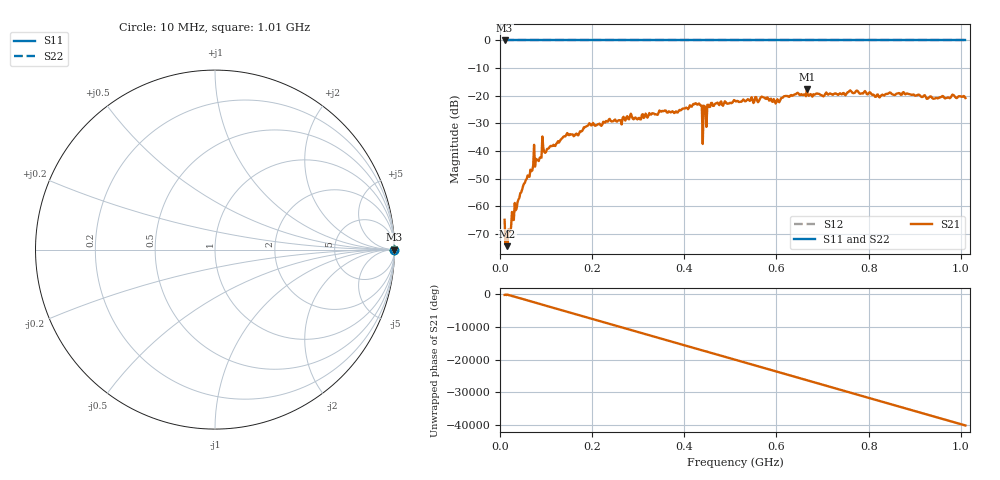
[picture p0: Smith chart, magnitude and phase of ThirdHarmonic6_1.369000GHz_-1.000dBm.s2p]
! 8/16/2025 3:30:12 PM
! C:\ANRITSUVNA\TEMP\TEMP.S2P
! CHANNEL.1
! TR.MEASUREMENT
! RAW.DATA
! RF.CORRECTION.OFF
! AVERAGING.OFF
! IF.BANDWIDTH: 5KHZ
! SWEEPTYPE:  FREQ.SWEEP(Linear)
! Reference Plane Port Info
! PORT:  PORT1  PORT2
! DISTANCE:  0  m  0  m
! TIME:  0  s  0  s
! PHASE.OFFSET:  0  deg.  0  deg.
! LOSS:  0  dB  0  dB
! REF.LOSS:  0  dB  0  dB
! REF.FREQ:  0  Hz  0  Hz
! Power Info
! POWER:  -20  dBm  -20  dBm
! EFF.POWER:  -20  dBm  -20  dBm
! SOURCE.ATTEN:  0  dB  0  dB
! TEST.ATTEN:  0  dB  0  dB
# GHZ S RI R 50.0
! FREQ.GHZ  S11RE  S11IM  S21RE  S21IM  S12RE  S12IM  S22RE  S22IM
!; PortSelection: Port_12
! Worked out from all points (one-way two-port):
!   501 points, 10 MHz to 1.01 GHz, reference 50 ohm
!   highest |S21| = -17.70 dB at 666 MHz (marker M1); lowest = -74.4 dB at 16 MHz (marker M2)
!   lowest |S11| = 0.0 dB at 10 MHz (marker M3)
!   |S11| at or under -10 dB: nowhere
!   |S22| runs from 0.0 to 0.0 dB; largest |S21 - S12| = 1.1
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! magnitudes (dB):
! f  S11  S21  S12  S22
! 10 MHz  0.0  -64.9  0.0  0.0
! 16 MHz  0.0  -74.4  0.0  0.0
! 48 MHz  0.0  -54.0  0.0  0.0
! 76 MHz  0.0  -45.7  0.0  0.0
! 86 MHz  0.0  -42.5  0.0  0.0
! 96 MHz  0.0  -40.4  0.0  0.0
! 178 MHz  0.0  -32.8  0.0  0.0
! 198 MHz  0.0  -30.8  0.0  0.0
! 344 MHz  0.0  -26.2  0.0  0.0
! 428 MHz  0.0  -23.3  0.0  0.0
! 434 MHz  0.0  -23.3  0.0  0.0
! 436 MHz  0.0  -23.5  0.0  0.0
! 444 MHz  0.0  -23.8  0.0  0.0
! 446 MHz  0.0  -24.3  0.0  0.0
! 454 MHz  0.0  -24.1  0.0  0.0
! 510 MHz  0.0  -21.8  0.0  0.0
! 570 MHz  0.0  -20.5  0.0  0.0
! 602 MHz  0.0  -21.3  0.0  0.0
! 666 MHz  0.0  -17.7  0.0  0.0
! 678 MHz  0.0  -20.4  0.0  0.0
! 844 MHz  0.0  -19.0  0.0  0.0
! 1.01 GHz  0.0  -20.8  0.0  0.0
